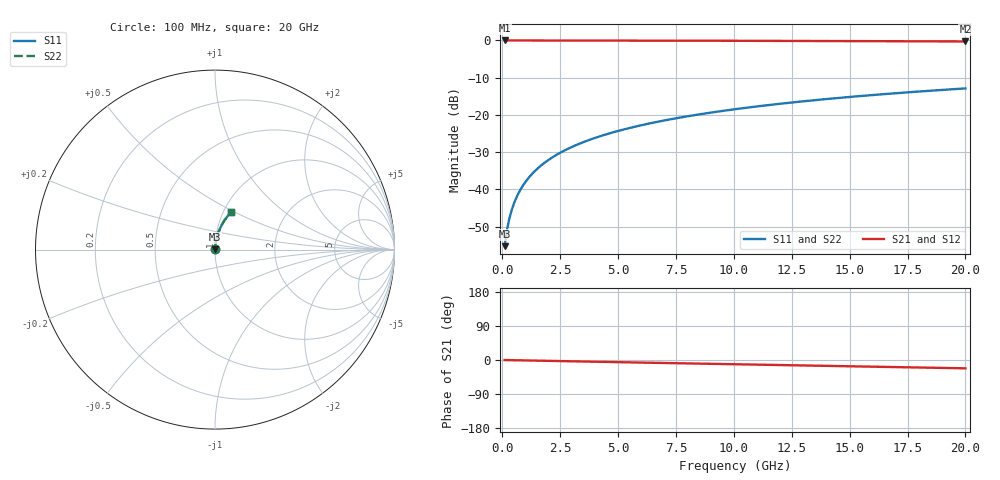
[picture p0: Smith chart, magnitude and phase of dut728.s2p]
! Touchstone file exported from HFSS 2026.1.0
!  File:  C:/ffzhzh/LocalFiles/Ansys_Project_Files/temp_train_TMRDL_728_1783154884_55132.aedt
!  Generated:  04:49:15 PM Jul  4, 2026
!  Design:  TMRDL
!  Project:  temp_train_TMRDL_728_1783154884_55132
! Variables:
!  h_bsmrdl = 2um
!  h_ox = 20um
!  h_rdl = 5um
!  h_sub = 80um
!  h_tmrdl = 5.3um
!  h_tsv = 80um
!  h_via = 3um
!  l_bsmrdl = 300um
!  l_sub = 682.61um
!  l_tmrdl = 282.61um
!  m_sub = 200um
!  pitch = 49.37um
!  r_tsv = 6um
!  s_tmrdl = 10um
!  w_bsmrdl = 18um
!  w_sub = 500um
!  w_tmrdl = 19.36um
!  x_tsv_center1 = 292.29um
!  x_tsv_center2 = 610.29um
!  x_tsv_center3 = 912.26um
!  x_tsv_center4 = 1230.26um
!  x_tsv_center5 = 1532.23um
!  x_tsv_center6 = 1850.23um
# GHz S MA R 50.000000
! Terminal data exported
! Port[1] = TM_RDL1_1_T1
! Port[2] = TM_RDL1_1_T2
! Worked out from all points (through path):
!   200 points, 100 MHz to 20 GHz, reference 50 ohm
!   highest |S21| = -0.01 dB at 100 MHz (marker M1); lowest = -0.3 dB at 20 GHz (marker M2)
!   group delay of S21, straight-line fit = 3.04 ps
!   lowest |S11| = -55.3 dB at 100 MHz (marker M3), VSWR 1.00, Z = 50.1 + j0.132 ohm
!   |S11| at or under -10 dB: start of sweep to end of sweep
!   |S22| runs from -55.3 to -12.9 dB; largest |S21 - S12| = 3.1e-15
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0.1  0.001728 49.9  0.9989 -0.1  0.9989 -0.1  0.001728 49.9
! Gamma 0 0 0 0
! Port Impedance 50 0 50 0
0.2  0.002832 65.4  0.9988 -0.2  0.9988 -0.2  0.002832 65.4
0.3  0.004004 72.2  0.9988 -0.4  0.9988 -0.4  0.004004 72.2
0.4  0.005205 76.0  0.9987 -0.5  0.9987 -0.5  0.005205 76.0
0.5  0.006421 78.3  0.9987 -0.6  0.9987 -0.6  0.006422 78.3
0.7  0.008878 80.9  0.9986 -0.8  0.9986 -0.8  0.008878 80.9
0.8  0.01011 81.7  0.9986 -0.9  0.9986 -0.9  0.01011 81.7
1  0.01259 82.7  0.9985 -1.2  0.9985 -1.2  0.01259 82.7
1.2  0.01506 83.3  0.9984 -1.4  0.9984 -1.4  0.01506 83.3
1.4  0.01753 83.6  0.9983 -1.6  0.9983 -1.6  0.01753 83.6
1.7  0.02123 83.9  0.9982 -2.0  0.9982 -2.0  0.02122 83.9
2  0.02491 83.9  0.998 -2.3  0.998 -2.3  0.02491 83.9
2.7  0.03343 83.6  0.9975 -3.1  0.9975 -3.1  0.03343 83.6
3.5  0.04307 83.0  0.9968 -4.0  0.9968 -4.0  0.04307 83.0
4.2  0.05143 82.4  0.9962 -4.8  0.9962 -4.8  0.05143 82.4
5  0.06089 81.7  0.9953 -5.7  0.9953 -5.7  0.06089 81.7
6.8  0.08195 79.9  0.9932 -7.7  0.9932 -7.7  0.08195 79.9
8.3  0.09928 78.5  0.9913 -9.3  0.9913 -9.3  0.09928 78.5
10.1  0.1198 76.7  0.9886 -11.3  0.9886 -11.3  0.1198 76.7
13.4  0.1567 73.3  0.9828 -14.9  0.9828 -14.9  0.1567 73.3
16.7  0.1924 70.0  0.976 -18.4  0.976 -18.4  0.1924 70.0
20  0.2268 66.6  0.9682 -21.9  0.9682 -21.9  0.2268 66.6
